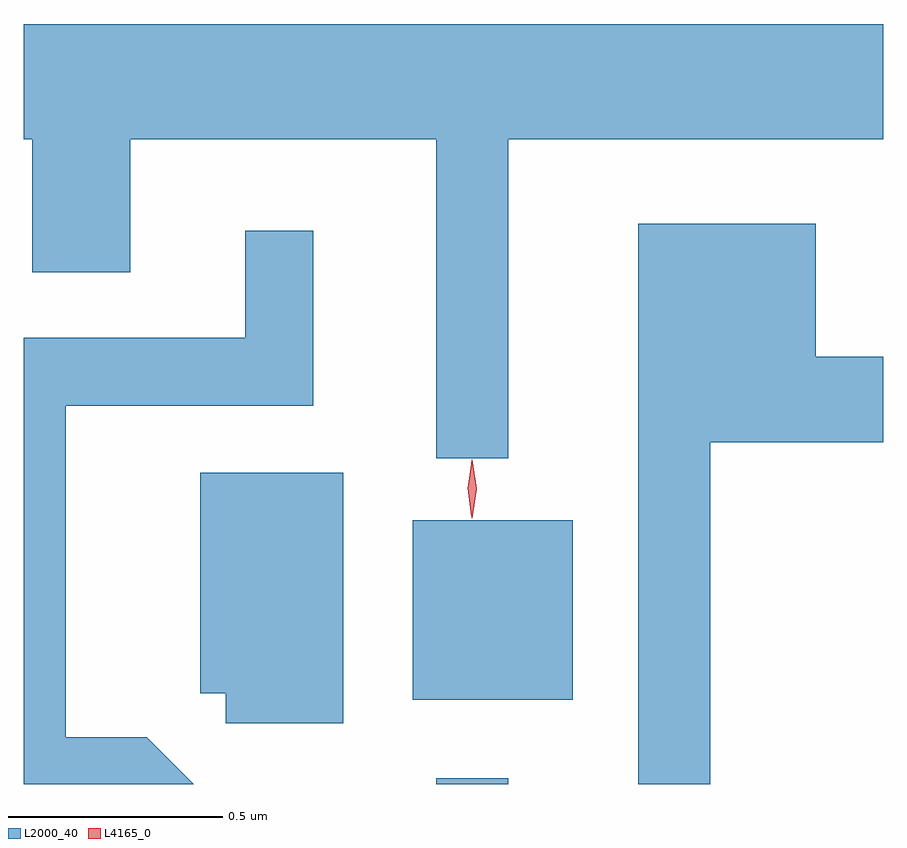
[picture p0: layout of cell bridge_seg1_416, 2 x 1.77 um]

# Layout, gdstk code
import gdstk
lib = gdstk.Library(unit=1e-6, precision=1e-09)
def R(c, l, rs):  # rectangles x0, y0, x1, y1
    for r in rs: c.add(gdstk.rectangle(r[:2], r[2:], *l))
def P(c, l, *ps):  # polygons
    for p in ps: c.add(gdstk.Polygon(p, *l))
L2000_40 = (2000, 40)
L4165_0 = (4165, 0)

bridge_seg1_416 = lib.new_cell('bridge_seg1_416')
R(bridge_seg1_416, L2000_40, [(420.331,966.895,420.499,966.908), (420.276,967.091,420.649,967.509)])
P(bridge_seg1_416, L2000_40, [(420.499,968.396),(421.371,968.396),(421.371,968.664),(419.371,968.664),(419.371,968.396),(419.391,968.396),(419.391,968.086),(419.619,968.086),(419.619,968.396),(420.331,968.396),(420.331,967.653),(420.499,967.653)],
  [(420.969,967.691),(421.371,967.691),(421.371,967.889),(421.214,967.889),(421.214,968.199),(420.801,968.199),(420.801,966.895),(420.969,966.895)],
  [(419.657,967.004),(419.469,967.004),(419.469,967.776),(420.044,967.776),(420.044,968.183),(419.886,968.183),(419.886,967.934),(419.371,967.934),(419.371,966.895),(419.766,966.895)],
  [(420.114,967.619),(419.781,967.619),(419.781,967.106),(419.841,967.106),(419.841,967.036),(420.114,967.036)])
P(bridge_seg1_416, L4165_0, [(420.414,967.514),(420.405,967.582),(420.414,967.65),(420.415,967.65),(420.415,967.65),(420.425,967.582),(420.415,967.514),(420.415,967.514)],
  [(420.413,967.518),(420.412,967.519),(420.404,967.583),(420.414,967.646),(420.415,967.647),(420.415,967.646),(420.424,967.582),(420.413,967.519)])

lib.write_gds('bridge_seg1_416.gds')
